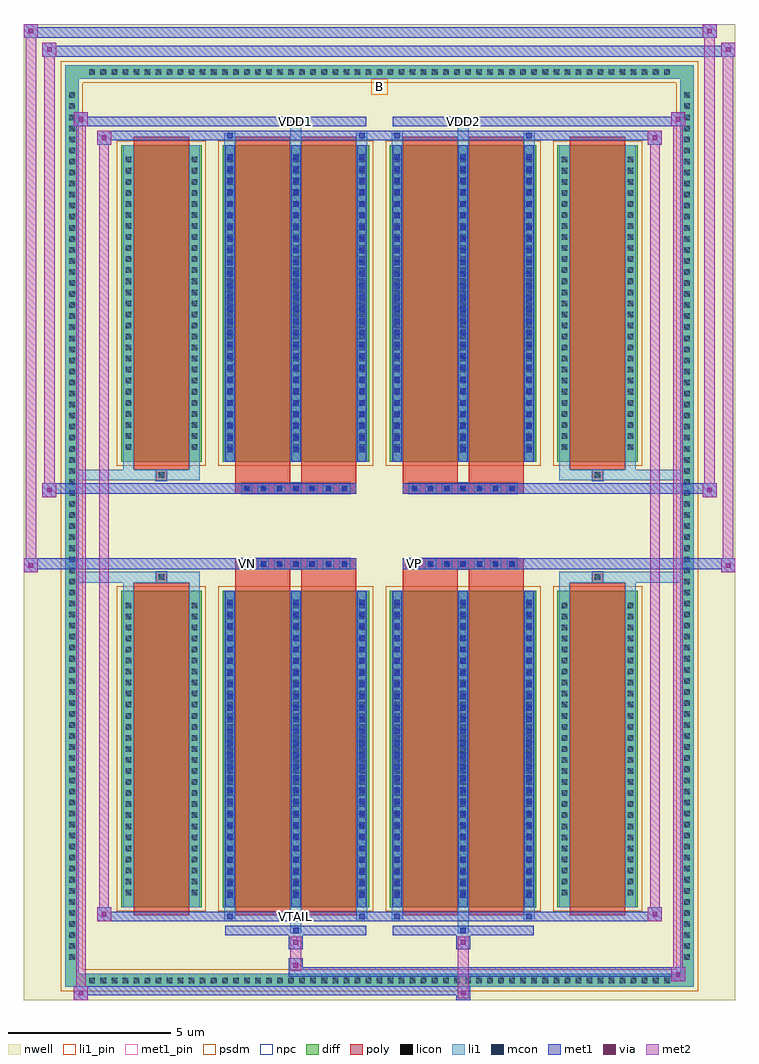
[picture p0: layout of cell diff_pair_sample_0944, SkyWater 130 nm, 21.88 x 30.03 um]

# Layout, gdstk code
import gdstk
lib = gdstk.Library(unit=1e-6, precision=5e-09)
def R(c, l, rs):  # rectangles x0, y0, x1, y1
    for r in rs: c.add(gdstk.rectangle(r[:2], r[2:], *l))
def A(c, l, x, y, w, h, nx, ny, dx, dy):  # array of equal rectangles
    R(c, l, [(x+i*dx, y+j*dy, x+i*dx+w, y+j*dy+h) for i in range(nx) for j in range(ny)])
def P(c, l, *ps):  # polygons
    for p in ps: c.add(gdstk.Polygon(p, *l))
nwell = (64, 20)
diff = (65, 20)
poly = (66, 20)
licon = (66, 44)
li1_pin = (67, 16)
li1 = (67, 20)
mcon = (67, 44)
met1_pin = (68, 16)
met1 = (68, 20)
via = (68, 44)
met2 = (69, 20)
psdm = (94, 20)
npc = (95, 20)

diff_pair_sample_0944 = lib.new_cell('diff_pair_sample_0944')
R(diff_pair_sample_0944, nwell, [(-10.94,-14.58,10.94,15.45), (-8.26,-12.77,-0.01,-0.795), (0.01,-12.77,8.26,-0.795), (-8.26,0.795,-0.01,12.77), (0.01,0.795,8.26,12.77)])
A(diff_pair_sample_0944, diff, -9.045, -14.18, 0.41, 0.41, 53, 2, 0.34, 27.95)
A(diff_pair_sample_0944, diff, -9.67, -13.465, 0.41, 0.41, 1, 79, 0, 0.34)
A(diff_pair_sample_0944, diff, 9.26, -13.465, 0.41, 0.41, 1, 79, 0, 0.34)
R(diff_pair_sample_0944, diff, [(-9.045,-14.18,9.045,-13.77), (-9.67,-13.465,-9.26,13.465), (9.26,-13.465,9.67,13.465), (-7.95,-11.725,-5.47,-1.985), (-4.83,-11.725,-0.32,-1.985), (0.32,-11.725,4.83,-1.985), (5.47,-11.725,7.95,-1.985), (-7.95,1.985,-5.47,11.725), (-4.83,1.985,-0.32,11.725), (0.32,1.985,4.83,11.725), (5.47,1.985,7.95,11.725), (-9.045,13.77,9.045,14.18)])
P(diff_pair_sample_0944, diff, [(9.67,14.18),(-9.67,14.18),(-9.67,-13.77),(-9.26,-13.77),(-9.26,13.77),(9.26,13.77),(9.26,-13.77),(-9.26,-13.77),(-9.67,-13.77),(-9.67,-14.18),(9.67,-14.18)])
A(diff_pair_sample_0944, poly, -4.24, -1.325, 0.33, 0.33, 7, 2, 0.5, 2.32)
A(diff_pair_sample_0944, poly, 0.91, -1.325, 0.33, 0.33, 7, 2, 0.5, 2.32)
R(diff_pair_sample_0944, poly, [(-7.56,-11.975,-5.86,-1.735), (-4.44,-11.975,-2.74,-1.735), (-2.41,-11.975,-0.71,-1.735), (0.71,-11.975,2.41,-1.735), (2.74,-11.975,4.44,-1.735), (5.86,-11.975,7.56,-1.735), (-6.875,-1.735,-6.545,-1.405), (-6.875,-1.735,-6.545,-1.405), (-4.44,-1.735,-2.74,-1.325), (-2.41,-1.735,-0.71,-1.325), (0.71,-1.735,2.41,-1.325), (2.74,-1.735,4.44,-1.325), (6.545,-1.735,6.875,-1.405), (6.545,-1.735,6.875,-1.405), (-4.44,-1.325,-0.71,-0.995), (0.71,-1.325,4.44,-0.995), (-4.44,0.995,-0.71,1.325), (0.71,0.995,4.44,1.325), (-4.44,1.325,-2.74,1.735), (-2.41,1.325,-0.71,1.735), (0.71,1.325,2.41,1.735), (2.74,1.325,4.44,1.735), (-6.875,1.405,-6.545,1.735), (-6.875,1.405,-6.545,1.735), (6.545,1.405,6.875,1.735), (6.545,1.405,6.875,1.735), (-7.56,1.735,-5.86,11.975), (-4.44,1.735,-2.74,11.975), (-2.41,1.735,-0.71,11.975), (0.71,1.735,2.41,11.975), (2.74,1.735,4.44,11.975), (5.86,1.735,7.56,11.975)])
A(diff_pair_sample_0944, licon, -8.925, -14.06, 0.17, 0.17, 53, 2, 0.34, 27.95)
A(diff_pair_sample_0944, licon, -9.55, -13.345, 0.17, 0.17, 1, 79, 0, 0.34)
A(diff_pair_sample_0944, licon, 9.38, -13.345, 0.17, 0.17, 1, 79, 0, 0.34)
A(diff_pair_sample_0944, licon, -7.81, -11.36, 0.17, 0.17, 1, 27, 0, 0.34)
A(diff_pair_sample_0944, licon, -5.78, -11.36, 0.17, 0.17, 1, 27, 0, 0.34)
A(diff_pair_sample_0944, licon, -4.69, -11.36, 0.17, 0.17, 3, 27, 2.03, 0.34)
A(diff_pair_sample_0944, licon, 0.46, -11.36, 0.17, 0.17, 3, 27, 2.03, 0.34)
A(diff_pair_sample_0944, licon, 5.61, -11.36, 0.17, 0.17, 1, 27, 0, 0.34)
A(diff_pair_sample_0944, licon, 7.64, -11.36, 0.17, 0.17, 1, 27, 0, 0.34)
A(diff_pair_sample_0944, licon, -4.16, -1.245, 0.17, 0.17, 7, 2, 0.5, 2.32)
A(diff_pair_sample_0944, licon, 0.99, -1.245, 0.17, 0.17, 7, 2, 0.5, 2.32)
A(diff_pair_sample_0944, licon, -7.81, 2.35, 0.17, 0.17, 1, 27, 0, 0.34)
A(diff_pair_sample_0944, licon, -5.78, 2.35, 0.17, 0.17, 1, 27, 0, 0.34)
A(diff_pair_sample_0944, licon, -4.69, 2.35, 0.17, 0.17, 3, 27, 2.03, 0.34)
A(diff_pair_sample_0944, licon, 0.46, 2.35, 0.17, 0.17, 3, 27, 2.03, 0.34)
A(diff_pair_sample_0944, licon, 5.61, 2.35, 0.17, 0.17, 1, 27, 0, 0.34)
A(diff_pair_sample_0944, licon, 7.64, 2.35, 0.17, 0.17, 1, 27, 0, 0.34)
R(diff_pair_sample_0944, licon, [(-6.795,-1.655,-6.625,-1.485), (6.625,-1.655,6.795,-1.485), (-6.795,1.485,-6.625,1.655), (6.625,1.485,6.795,1.655)])
R(diff_pair_sample_0944, li1_pin, [(-0.25,13.27,0.25,13.77)])
A(diff_pair_sample_0944, li1, -9.005, -14.14, 0.33, 0.33, 53, 2, 0.34, 27.95)
A(diff_pair_sample_0944, li1, -9.63, -13.425, 0.33, 0.33, 1, 79, 0, 0.34)
A(diff_pair_sample_0944, li1, 9.3, -13.425, 0.33, 0.33, 1, 79, 0, 0.34)
A(diff_pair_sample_0944, li1, -4.77, -11.725, 0.33, 9.74, 3, 2, 2.03, 13.71)
A(diff_pair_sample_0944, li1, 0.38, -11.725, 0.33, 9.74, 3, 2, 2.03, 13.71)
A(diff_pair_sample_0944, li1, -7.89, -11.44, 0.33, 0.33, 1, 27, 0, 0.34)
A(diff_pair_sample_0944, li1, -5.86, -11.44, 0.33, 0.33, 1, 27, 0, 0.34)
A(diff_pair_sample_0944, li1, -4.77, -11.44, 0.33, 0.33, 3, 27, 2.03, 0.34)
A(diff_pair_sample_0944, li1, -4.69, -11.44, 0.17, 0.17, 3, 26, 2.03, 0.36)
A(diff_pair_sample_0944, li1, -4.69, -11.44, 0.17, 9.17, 3, 2, 2.03, 13.71)
A(diff_pair_sample_0944, li1, 0.38, -11.44, 0.33, 0.33, 3, 27, 2.03, 0.34)
A(diff_pair_sample_0944, li1, 0.46, -11.44, 0.17, 0.17, 3, 26, 2.03, 0.36)
A(diff_pair_sample_0944, li1, 0.46, -11.44, 0.17, 9.17, 3, 2, 2.03, 13.71)
A(diff_pair_sample_0944, li1, 5.53, -11.44, 0.33, 0.33, 1, 27, 0, 0.34)
A(diff_pair_sample_0944, li1, 7.56, -11.44, 0.33, 0.33, 1, 27, 0, 0.34)
A(diff_pair_sample_0944, li1, -4.24, -1.325, 0.33, 0.33, 7, 2, 0.5, 2.32)
A(diff_pair_sample_0944, li1, 0.91, -1.325, 0.33, 0.33, 7, 2, 0.5, 2.32)
A(diff_pair_sample_0944, li1, -7.89, 2.27, 0.33, 0.33, 1, 27, 0, 0.34)
A(diff_pair_sample_0944, li1, -5.86, 2.27, 0.33, 0.33, 1, 27, 0, 0.34)
A(diff_pair_sample_0944, li1, -4.77, 2.27, 0.33, 0.33, 3, 27, 2.03, 0.34)
A(diff_pair_sample_0944, li1, -4.69, 2.27, 0.17, 0.17, 3, 26, 2.03, 0.36)
A(diff_pair_sample_0944, li1, 0.38, 2.27, 0.33, 0.33, 3, 27, 2.03, 0.34)
A(diff_pair_sample_0944, li1, 0.46, 2.27, 0.17, 0.17, 3, 26, 2.03, 0.36)
A(diff_pair_sample_0944, li1, 5.53, 2.27, 0.33, 0.33, 1, 27, 0, 0.34)
A(diff_pair_sample_0944, li1, 7.56, 2.27, 0.33, 0.33, 1, 27, 0, 0.34)
R(diff_pair_sample_0944, li1, [(-9.67,-14.18,-9.26,-13.77), (-9.67,-14.18,-9.26,-13.77), (-9.26,-14.18,9.26,-13.77), (9.26,-14.18,9.67,-13.77), (9.26,-14.18,9.67,-13.77), (-9.67,-13.77,-9.26,13.77), (9.26,-13.77,9.67,13.77), (-2.74,-12.53,-2.41,-11.725), (-2.66,-12.53,-2.49,-12.36), (2.41,-12.53,2.74,-11.725), (2.49,-12.53,2.66,-12.36), (-4.77,-12.1,-4.44,-11.725), (-4.69,-12.1,-4.52,-11.93), (-0.71,-12.1,-0.38,-11.725), (-0.63,-12.1,-0.46,-11.93), (0.38,-12.1,0.71,-11.725), (0.46,-12.1,0.63,-11.93), (4.44,-12.1,4.77,-11.725), (4.52,-12.1,4.69,-11.93), (-7.89,-11.725,-7.56,-1.985), (-5.86,-11.725,-5.53,-1.985), (5.53,-11.725,5.86,-1.985), (7.56,-11.725,7.89,-1.985), (-7.89,-1.985,-7.56,-1.405), (-5.86,-1.985,-5.53,-1.405), (5.53,-1.985,5.86,-1.405), (7.56,-1.985,7.89,-1.405), (-9.67,-1.735,-6.875,-1.405), (-7.89,-1.735,-6.875,-1.405), (-6.875,-1.735,-6.545,-1.405), (-6.545,-1.735,-5.53,-1.405), (5.53,-1.735,6.545,-1.405), (6.545,-1.735,6.875,-1.405), (6.545,-1.735,9.67,-1.405), (6.875,-1.735,7.89,-1.405), (-9.67,1.405,-6.875,1.735), (-7.89,1.405,-6.875,1.735), (-7.89,1.405,-7.56,1.985), (-6.875,1.405,-6.545,1.735), (-6.545,1.405,-5.53,1.735), (-5.86,1.405,-5.53,1.985), (5.53,1.405,6.545,1.735), (5.53,1.405,5.86,1.985), (6.545,1.405,6.875,1.735), (6.545,1.405,9.67,1.735), (6.875,1.405,7.89,1.735), (7.56,1.405,7.89,1.985), (-7.89,1.985,-7.56,11.725), (-5.86,1.985,-5.53,11.725), (5.53,1.985,5.86,11.725), (7.56,1.985,7.89,11.725), (-4.77,11.725,-4.44,12.1), (-2.74,11.725,-2.41,12.53), (-0.71,11.725,-0.38,12.1), (0.38,11.725,0.71,12.1), (2.41,11.725,2.74,12.53), (4.44,11.725,4.77,12.1), (-4.69,11.93,-4.52,12.1), (-0.63,11.93,-0.46,12.1), (0.46,11.93,0.63,12.1), (4.52,11.93,4.69,12.1), (-2.66,12.36,-2.49,12.53), (2.49,12.36,2.66,12.53), (-9.67,13.77,-9.26,14.18), (-9.67,13.77,-9.26,14.18), (-9.26,13.77,9.26,14.18), (9.26,13.77,9.67,14.18), (9.26,13.77,9.67,14.18)])
A(diff_pair_sample_0944, mcon, -4.69, -11.44, 0.17, 0.17, 3, 26, 2.03, 0.36)
A(diff_pair_sample_0944, mcon, 0.46, -11.44, 0.17, 0.17, 3, 26, 2.03, 0.36)
A(diff_pair_sample_0944, mcon, -4.16, -1.245, 0.17, 0.17, 7, 2, 0.5, 2.32)
A(diff_pair_sample_0944, mcon, 0.99, -1.245, 0.17, 0.17, 7, 2, 0.5, 2.32)
A(diff_pair_sample_0944, mcon, -4.69, 2.27, 0.17, 0.17, 3, 26, 2.03, 0.36)
A(diff_pair_sample_0944, mcon, 0.46, 2.27, 0.17, 0.17, 3, 26, 2.03, 0.36)
R(diff_pair_sample_0944, mcon, [(-2.66,-12.53,-2.49,-12.36), (2.49,-12.53,2.66,-12.36), (-4.69,-12.1,-4.52,-11.93), (-0.63,-12.1,-0.46,-11.93), (0.46,-12.1,0.63,-11.93), (4.52,-12.1,4.69,-11.93), (-4.69,11.93,-4.52,12.1), (-0.63,11.93,-0.46,12.1), (0.46,11.93,0.63,12.1), (4.52,11.93,4.69,12.1), (-2.66,12.36,-2.49,12.53), (2.49,12.36,2.66,12.53)])
R(diff_pair_sample_0944, met1_pin, [(-2.71,-12.14,-2.44,-11.87), (-4.21,-1.285,-3.94,-1.015), (0.94,-1.285,1.21,-1.015), (-2.71,12.32,-2.44,12.59), (2.44,12.32,2.71,12.59)])
A(diff_pair_sample_0944, met1, -4.75, -11.725, 0.29, 9.74, 3, 2, 2.03, 13.71)
A(diff_pair_sample_0944, met1, 0.4, -11.725, 0.29, 9.74, 3, 2, 2.03, 13.71)
A(diff_pair_sample_0944, met1, -4.75, -11.5, 0.29, 0.29, 3, 26, 2.03, 0.36)
A(diff_pair_sample_0944, met1, 0.4, -11.5, 0.29, 0.29, 3, 26, 2.03, 0.36)
A(diff_pair_sample_0944, met1, -4.22, -1.305, 0.29, 0.29, 7, 2, 0.5, 2.32)
A(diff_pair_sample_0944, met1, 0.93, -1.305, 0.29, 0.29, 7, 2, 0.5, 2.32)
A(diff_pair_sample_0944, met1, -4.75, 2.21, 0.29, 0.29, 3, 26, 2.03, 0.36)
A(diff_pair_sample_0944, met1, 0.4, 2.21, 0.29, 0.29, 3, 26, 2.03, 0.36)
R(diff_pair_sample_0944, met1, [(-9.4,-14.58,-8.97,-14.15), (2.36,-14.58,2.79,-14.15), (-9.4,-14.44,2.79,-14.15), (8.97,-14.01,9.4,-13.58), (-2.79,-13.87,9.4,-13.58), (-2.79,-13.73,-2.36,-13.3), (-2.79,-13.02,-2.36,-12.59), (2.36,-13.02,2.79,-12.59), (-4.75,-12.59,-0.4,-12.3), (-2.72,-12.59,-2.43,-12.3), (0.4,-12.59,4.75,-12.3), (2.43,-12.59,2.72,-12.3), (-8.69,-12.16,-8.26,-11.73), (-8.69,-12.16,-4.75,-11.87), (-4.75,-12.16,-4.46,-11.87), (-4.75,-12.16,-0.4,-11.87), (-0.69,-12.16,-0.4,-11.87), (-0.4,-12.16,0.4,-11.87), (0.4,-12.16,0.69,-11.87), (0.4,-12.16,4.75,-11.87), (4.46,-12.16,4.75,-11.87), (4.75,-12.16,8.69,-11.87), (8.26,-12.16,8.69,-11.73), (-10.94,-1.425,-10.51,-0.995), (10.51,-1.425,10.94,-0.995), (-10.94,-1.325,-0.71,-0.995), (-4.44,-1.325,-0.71,-0.995), (0.71,-1.325,4.44,-0.995), (0.71,-1.325,10.94,-0.995), (-10.37,0.895,-9.94,1.325), (9.94,0.895,10.37,1.325), (-10.37,0.995,-4.44,1.325), (-4.44,0.995,-0.71,1.325), (0.71,0.995,4.44,1.325), (4.44,0.995,10.37,1.325), (-8.69,11.73,-8.26,12.16), (8.26,11.73,8.69,12.16), (-8.69,11.87,-4.75,12.16), (-4.75,11.87,-4.46,12.16), (-4.75,11.87,-0.4,12.16), (-0.69,11.87,-0.4,12.16), (-0.4,11.87,0.4,12.16), (0.4,11.87,0.69,12.16), (0.4,11.87,4.75,12.16), (4.46,11.87,4.75,12.16), (4.75,11.87,8.69,12.16), (-9.4,12.3,-8.97,12.73), (-9.4,12.3,-4.75,12.59), (-4.75,12.3,-0.4,12.59), (-2.72,12.3,-2.43,12.59), (0.4,12.3,4.75,12.59), (2.43,12.3,2.72,12.59), (4.75,12.3,9.4,12.59), (8.97,12.3,9.4,12.73), (-10.37,14.45,-9.94,14.88), (-10.37,14.45,-8.26,14.78), (-8.26,14.45,8.26,14.78), (8.26,14.45,10.94,14.78), (10.51,14.45,10.94,14.88), (-10.94,15.02,-10.51,15.45), (-10.94,15.02,-8.26,15.35), (-8.26,15.02,8.26,15.35), (8.26,15.02,10.37,15.35), (9.94,15.02,10.37,15.45)])
R(diff_pair_sample_0944, via, [(-9.26,-14.44,-9.11,-14.29), (2.5,-14.44,2.65,-14.29), (9.11,-13.87,9.26,-13.72), (-2.65,-13.59,-2.5,-13.44), (-2.65,-12.88,-2.5,-12.73), (2.5,-12.88,2.65,-12.73), (-8.55,-12.02,-8.4,-11.87), (8.4,-12.02,8.55,-11.87), (-10.8,-1.285,-10.65,-1.135), (10.65,-1.285,10.8,-1.135), (-10.23,1.035,-10.08,1.185), (10.08,1.035,10.23,1.185), (-8.55,11.87,-8.4,12.02), (8.4,11.87,8.55,12.02), (-9.26,12.44,-9.11,12.59), (9.11,12.44,9.26,12.59), (-10.23,14.59,-10.08,14.74), (10.65,14.59,10.8,14.74), (-10.8,15.16,-10.65,15.31), (10.08,15.16,10.23,15.31)])
R(diff_pair_sample_0944, met2, [(-9.4,-14.58,-8.97,-14.15), (-9.33,-14.58,-9.04,12.73), (-9.04,-14.58,-8.97,-14.15), (-9.35,-14.53,-9.02,-14.2), (2.41,-14.53,2.74,-14.2), (2.41,-14.2,2.74,-12.97), (8.97,-14.01,9.4,-13.58), (9.04,-14.01,9.33,12.73), (9.33,-14.01,9.4,-13.58), (9.02,-13.96,9.35,-13.63), (-2.74,-13.68,-2.41,-13.35), (-2.74,-13.35,-2.41,-12.97), (-2.74,-12.97,-2.41,-12.64), (2.41,-12.97,2.74,-12.64), (-8.69,-12.16,-8.26,-11.73), (-8.62,-12.16,-8.33,12.16), (-8.33,-12.16,-8.26,-11.73), (8.26,-12.16,8.69,-11.73), (8.33,-12.16,8.62,12.16), (8.62,-12.16,8.69,-11.73), (-8.64,-12.11,-8.31,-11.78), (8.31,-12.11,8.64,-11.78), (-10.94,-1.425,-10.51,-0.995), (-10.89,-1.425,-10.56,15.45), (-10.56,-1.425,-10.51,-0.995), (10.51,-1.425,10.94,-0.995), (10.56,-1.425,10.89,14.88), (10.89,-1.425,10.94,-0.995), (-10.89,-1.375,-10.56,-1.045), (10.56,-1.375,10.89,-1.045), (-10.37,0.895,-9.94,1.325), (-10.32,0.895,-9.99,14.88), (-9.99,0.895,-9.94,1.325), (9.94,0.895,10.37,1.325), (9.99,0.895,10.32,15.45), (10.32,0.895,10.37,1.325), (-10.32,0.945,-9.99,1.275), (9.99,0.945,10.32,1.275), (-8.69,11.73,-8.26,12.16), (-8.33,11.73,-8.26,12.16), (8.26,11.73,8.69,12.16), (8.62,11.73,8.69,12.16), (-8.64,11.78,-8.31,12.11), (8.31,11.78,8.64,12.11), (-9.4,12.3,-8.97,12.73), (-9.04,12.3,-8.97,12.73), (8.97,12.3,9.4,12.73), (9.33,12.3,9.4,12.73), (-9.35,12.35,-9.02,12.68), (9.02,12.35,9.35,12.68), (-10.37,14.45,-9.94,14.88), (-9.99,14.45,-9.94,14.88), (10.51,14.45,10.94,14.88), (10.89,14.45,10.94,14.88), (-10.32,14.5,-9.99,14.83), (10.56,14.5,10.89,14.83), (-10.94,15.02,-10.51,15.45), (-10.56,15.02,-10.51,15.45), (9.94,15.02,10.37,15.45), (10.32,15.02,10.37,15.45), (-10.89,15.07,-10.56,15.4), (9.99,15.07,10.32,15.4)])
R(diff_pair_sample_0944, psdm, [(-8.08,-11.855,-5.34,-1.855), (-4.96,-11.855,-0.19,-1.855), (0.19,-11.855,4.96,-1.855), (5.34,-11.855,8.08,-1.855), (-8.08,1.855,-5.34,11.855), (-4.96,1.855,-0.19,11.855), (0.19,1.855,4.96,11.855), (5.34,1.855,8.08,11.855)])
P(diff_pair_sample_0944, psdm, [(9.8,14.31),(-9.8,14.31),(-9.8,-13.64),(-9.13,-13.64),(-9.13,13.64),(9.13,13.64),(9.13,-13.64),(-9.13,-13.64),(-9.8,-13.64),(-9.8,-14.31),(9.8,-14.31)])
A(diff_pair_sample_0944, npc, -4.26, -1.345, 0.37, 0.37, 7, 2, 0.5, 2.32)
A(diff_pair_sample_0944, npc, 0.89, -1.345, 0.37, 0.37, 7, 2, 0.5, 2.32)
R(diff_pair_sample_0944, npc, [(-6.895,-1.755,-6.525,-1.385), (6.525,-1.755,6.895,-1.385), (-4.26,-1.345,-3.39,-0.975), (-4.26,-1.345,-3.39,-0.975), (-3.76,-1.345,-2.89,-0.975), (-3.76,-1.345,-2.89,-0.975), (-3.26,-1.345,-2.39,-0.975), (-3.26,-1.345,-2.39,-0.975), (-2.76,-1.345,-1.89,-0.975), (-2.76,-1.345,-1.89,-0.975), (-2.26,-1.345,-1.39,-0.975), (-2.26,-1.345,-1.39,-0.975), (-1.76,-1.345,-0.89,-0.975), (-1.76,-1.345,-0.89,-0.975), (0.89,-1.345,1.76,-0.975), (0.89,-1.345,1.76,-0.975), (1.39,-1.345,2.26,-0.975), (1.39,-1.345,2.26,-0.975), (1.89,-1.345,2.76,-0.975), (1.89,-1.345,2.76,-0.975), (2.39,-1.345,3.26,-0.975), (2.39,-1.345,3.26,-0.975), (2.89,-1.345,3.76,-0.975), (2.89,-1.345,3.76,-0.975), (3.39,-1.345,4.26,-0.975), (3.39,-1.345,4.26,-0.975), (-4.26,0.975,-3.39,1.345), (-4.26,0.975,-3.39,1.345), (-3.76,0.975,-2.89,1.345), (-3.76,0.975,-2.89,1.345), (-3.26,0.975,-2.39,1.345), (-3.26,0.975,-2.39,1.345), (-2.76,0.975,-1.89,1.345), (-2.76,0.975,-1.89,1.345), (-2.26,0.975,-1.39,1.345), (-2.26,0.975,-1.39,1.345), (-1.76,0.975,-0.89,1.345), (-1.76,0.975,-0.89,1.345), (0.89,0.975,1.76,1.345), (0.89,0.975,1.76,1.345), (1.39,0.975,2.26,1.345), (1.39,0.975,2.26,1.345), (1.89,0.975,2.76,1.345), (1.89,0.975,2.76,1.345), (2.39,0.975,3.26,1.345), (2.39,0.975,3.26,1.345), (2.89,0.975,3.76,1.345), (2.89,0.975,3.76,1.345), (3.39,0.975,4.26,1.345), (3.39,0.975,4.26,1.345), (-6.895,1.385,-6.525,1.755), (6.525,1.385,6.895,1.755)])
diff_pair_sample_0944.add(gdstk.Label('VTAIL', (-2.575,-12.005), layer=68, texttype=5))
diff_pair_sample_0944.add(gdstk.Label('VN', (-4.075,-1.15), layer=68, texttype=5))
diff_pair_sample_0944.add(gdstk.Label('VP', (1.075,-1.15), layer=68, texttype=5))
diff_pair_sample_0944.add(gdstk.Label('B', (0,13.52), layer=67, texttype=5))
diff_pair_sample_0944.add(gdstk.Label('VDD2', (2.575,12.455), layer=68, texttype=5))
diff_pair_sample_0944.add(gdstk.Label('VDD1', (-2.575,12.455), layer=68, texttype=5))

lib.write_gds('diff_pair_sample_0944.gds')
